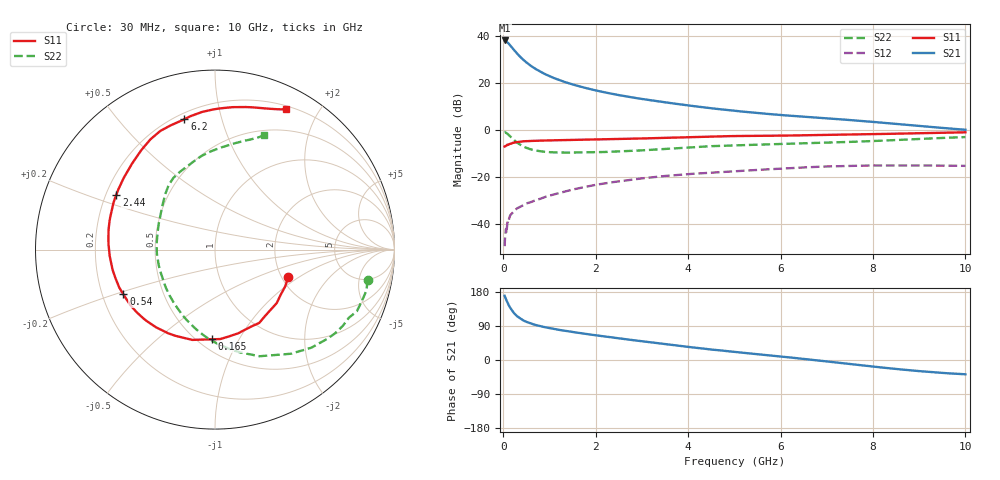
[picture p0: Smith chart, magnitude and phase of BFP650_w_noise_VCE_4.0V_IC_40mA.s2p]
! Infineon Technologies  Discrete & RF Semiconductors
! BFP650
! VCE =  4.0 V,  IC =  40 mA
! Common Emitter S-Parameters:  Jan 2016
# GHz  S  MA  R  50
!  f  S11  S21  S12  S22
! GHz  MAG  ANG  MAG  ANG  MAG  ANG  MAG  ANG
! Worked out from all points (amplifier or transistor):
!   229 points, 30 MHz to 10 GHz, reference 50 ohm
!   highest |S21| = 37.9 dB at 30 MHz (marker M1)
!   |S21| within 3 dB of that: start of sweep to 188.9 MHz
!   unconditionally stable (mu >= 1): 1.943 GHz to end of sweep
!   at 280 MHz: K = 0.44, MSG = 33.4 dB, |S12| = -33.9 dB
!   at 1.78 GHz: K = 0.99, MSG = 21.0 dB, |S12| = -24.4 dB
!   at 10 GHz: K = 1.03, MAG = 6.6 dB, |S12| = -15.5 dB
!   lowest NFmin = 0.87 dB at 450 MHz
!   S11 on the Smith chart (normalised r, x): 30 MHz: 2.18, -0.81; 165 MHz: 0.58, -0.78; 540 MHz: 0.29, -0.21; 2.44 GHz: 0.24, +0.24; 6.2 GHz: 0.23, +0.77; 10 GHz: 0.24, +1.60
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0.03  0.4361 -20.2  78.67 169.5  0.0033 92.7  0.8672 -11.2
0.05  0.4441 -34.4  76.7 163.1  0.0062 68.8  0.8667 -19.5
0.07  0.4563 -46.5  74.84 157.5  0.0062 75.1  0.8369 -27.0
0.1  0.4738 -64.5  70.49 149.4  0.0107 64.7  0.8007 -38.2
0.13  0.4878 -79.0  65.19 142.0  0.0131 59.0  0.7481 -48.3
0.165  0.5001 -92.0  59.42 135.3  0.0156 53.2  0.693 -57.5
0.2  0.5188 -104.1  54.1 128.5  0.0169 55.4  0.644 -67.3
0.24  0.5285 -114.6  48.53 122.7  0.0185 50.9  0.5909 -76.0
0.3  0.5433 -127.1  41.47 115.5  0.0211 51.1  0.5277 -88.0
0.4  0.5585 -141.2  32.8 106.9  0.0236 48.2  0.4554 -103.5
0.54  0.5681 -154.0  25.17 99.0  0.0275 48.6  0.3956 -119.9
0.7  0.5771 -164.1  19.48 92.4  0.0314 50.0  0.3591 -135.1
1  0.5878 -176.5  13.68 84.2  0.0393 50.8  0.3304 -154.8
1.3  0.596 174.7  10.52 77.8  0.0472 51.0  0.3236 -168.7
1.7  0.6081 165.3  8.039 70.5  0.0583 49.6  0.3254 177.2
2.44  0.629 151.0  5.551 58.2  0.0776 44.3  0.3398 158.4
3.4  0.6611 135.4  3.919 43.6  0.1005 35.0  0.3805 140.5
5.1  0.729 113.6  2.453 20.2  0.1318 18.7  0.4647 118.7
6.2  0.7464 103.2  1.973 6.7  0.1508 8.4  0.4987 105.6
6.8  0.7635 97.5  1.793 -1.0  0.1608 2.2  0.5198 99.9
8.4  0.8126 77.8  1.347 -22.4  0.1725 -15.3  0.5918 81.6
10  0.8745 63.3  0.99 -37.7  0.1687 -27.8  0.6917 66.9
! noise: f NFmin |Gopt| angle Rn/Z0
0.45  0.87  0.11  163  1.38
0.9  0.89  0.36  -170  0.07
1.9  1.03  0.4  -155  0.06
2.4  1.11  0.4  -145  0.07
3.5  1.31  0.43  -122  0.13
